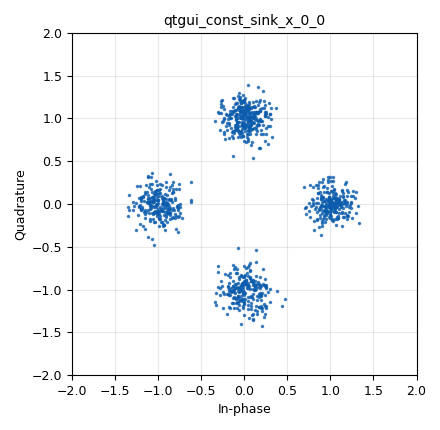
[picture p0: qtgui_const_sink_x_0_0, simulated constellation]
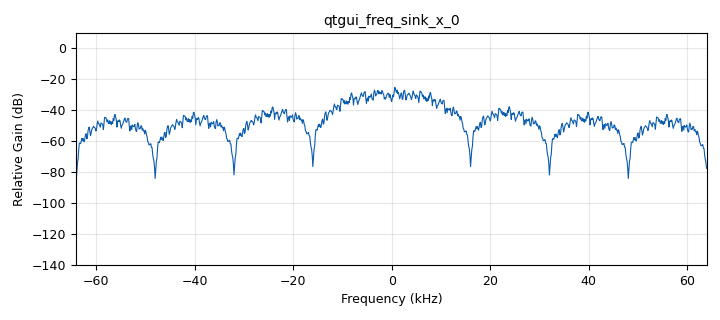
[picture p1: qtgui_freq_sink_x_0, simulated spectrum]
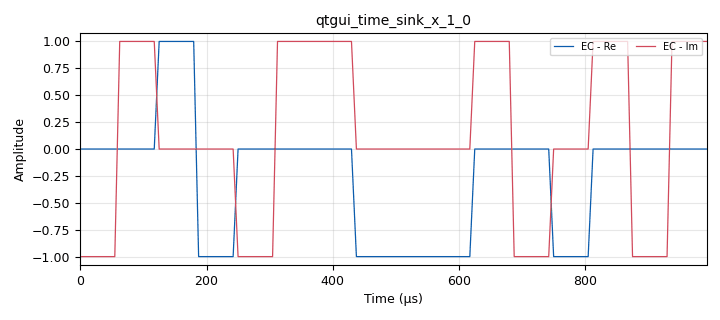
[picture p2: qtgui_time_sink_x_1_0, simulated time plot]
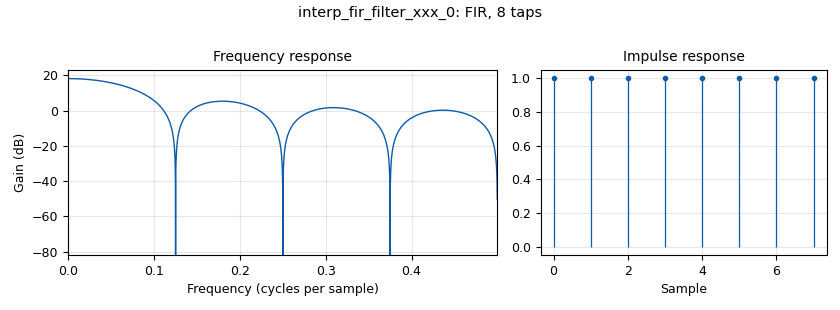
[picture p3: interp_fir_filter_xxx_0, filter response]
options:
  parameters:
    generate_options: qt_gui
    id: practicampsk
    output_language: python
    title: Practica MPSK
  states: {}

blocks:
- name: Constelacion
  id: variable
  parameters:
    value: '[0+1j, -1-0j, 0-1j, 1+0j] '
  states: {}
- name: M
  id: variable
  parameters:
    value: '4'
  states: {}
- name: Nbps
  id: variable
  parameters:
    value: int(math.log(M,2))
  states: {}
- name: Rb
  id: variable
  parameters:
    value: '32000'
  states: {}
- name: Rs
  id: variable
  parameters:
    value: Rb/Nbps
  states: {}
- name: Sps
  id: variable
  parameters:
    value: len(h)
  states: {}
- name: h
  id: variable
  parameters:
    value: '[1, 1, 1, 1, 1, 1, 1, 1]'
  states: {}
- name: samp_rate
  id: variable
  parameters:
    value: Rs*Sps
  states: {}
- name: analog_noise_source_x_0
  id: analog_noise_source_x
  parameters:
    amp: '0.2'
    noise_type: analog.GR_GAUSSIAN
    seed: '0'
    type: complex
  states: {}
- name: analog_random_source_x_0
  id: analog_random_source_x
  parameters:
    max: '2'
    min: '0'
    num_samps: '1000'
    repeat: 'True'
    type: byte
  states: {}
- name: blocks_add_xx_0
  id: blocks_add_xx
  parameters:
    type: complex
  states: {}
- name: blocks_char_to_float_0
  id: blocks_char_to_float
  parameters:
    scale: '1'
  states: {state: disabled}
- name: blocks_char_to_float_0_0
  id: blocks_char_to_float
  parameters:
    scale: '1'
  states: {state: disabled}
- name: blocks_repack_bits_bb_0
  id: blocks_repack_bits_bb
  parameters:
    endianness: gr.GR_LSB_FIRST
    k: '1'
    l: Nbps
  states: {}
- name: blocks_throttle2_0
  id: blocks_throttle2
  parameters:
    samples_per_second: samp_rate
    type: complex
  states: {}
- name: digital_chunks_to_symbols_xx_0
  id: digital_chunks_to_symbols_xx
  parameters:
    dimension: '1'
    in_type: byte
    out_type: complex
    symbol_table: Constelacion
  states: {}
- name: import_0
  id: import
  parameters:
    imports: import math
  states: {}
- name: interp_fir_filter_xxx_0
  id: interp_fir_filter_xxx
  parameters:
    interp: Sps
    taps: h
    type: ccc
  states: {}
- name: qtgui_const_sink_x_0
  id: qtgui_const_sink_x
  parameters:
    size: '1024'
    type: complex
  states: {state: disabled}
- name: qtgui_const_sink_x_0_0
  id: qtgui_const_sink_x
  parameters:
    size: '1024'
    type: complex
  states: {}
- name: qtgui_freq_sink_x_0
  id: qtgui_freq_sink_x
  parameters:
    average: '0.1'
    bw: samp_rate
    fc: '0'
    fftsize: '1024'
    type: complex
  states: {}
- name: qtgui_time_sink_x_0
  id: qtgui_time_sink_x
  parameters:
    label1: Binaria
    marker1: '0'
    size: '32'
    srate: Rb
    stemplot: 'True'
    type: float
  states: {state: disabled}
- name: qtgui_time_sink_x_0_0
  id: qtgui_time_sink_x
  parameters:
    label1: Mpam
    marker1: '0'
    size: int(32/Nbps)
    srate: Rs
    stemplot: 'True'
    type: float
  states: {state: disabled}
- name: qtgui_time_sink_x_0_0_0
  id: qtgui_time_sink_x
  parameters:
    label1: M pam(modificada)
    marker1: '0'
    size: int(32/Nbps)
    srate: Rs
    stemplot: 'True'
    type: float
  states: {state: disabled}
- name: qtgui_time_sink_x_1
  id: qtgui_time_sink_x
  parameters:
    label1: EC - Re
    label2: EC - Im
    marker1: '0'
    marker2: '0'
    size: int(32/Nbps)
    srate: Rs
    stemplot: 'True'
    type: complex
  states: {state: disabled}
- name: qtgui_time_sink_x_1_0
  id: qtgui_time_sink_x
  parameters:
    label1: EC - Re
    label2: EC - Im
    size: int(32*Sps/Nbps)
    srate: samp_rate
    type: complex
  states: {}

connections:
- [analog_noise_source_x_0, '0', blocks_add_xx_0, '1']
- [analog_random_source_x_0, '0', blocks_char_to_float_0, '0']
- [analog_random_source_x_0, '0', blocks_repack_bits_bb_0, '0']
- [blocks_add_xx_0, '0', qtgui_const_sink_x_0_0, '0']
- [blocks_char_to_float_0, '0', qtgui_time_sink_x_0, '0']
- [blocks_char_to_float_0_0, '0', qtgui_time_sink_x_0_0, '0']
- [blocks_repack_bits_bb_0, '0', blocks_char_to_float_0_0, '0']
- [blocks_repack_bits_bb_0, '0', digital_chunks_to_symbols_xx_0, '0']
- [blocks_throttle2_0, '0', interp_fir_filter_xxx_0, '0']
- [digital_chunks_to_symbols_xx_0, '0', blocks_throttle2_0, '0']
- [interp_fir_filter_xxx_0, '0', blocks_add_xx_0, '0']
- [interp_fir_filter_xxx_0, '0', qtgui_freq_sink_x_0, '0']
- [interp_fir_filter_xxx_0, '0', qtgui_time_sink_x_1_0, '0']

metadata:
  file_format: 1
  grc_version: 3.10.12.0
